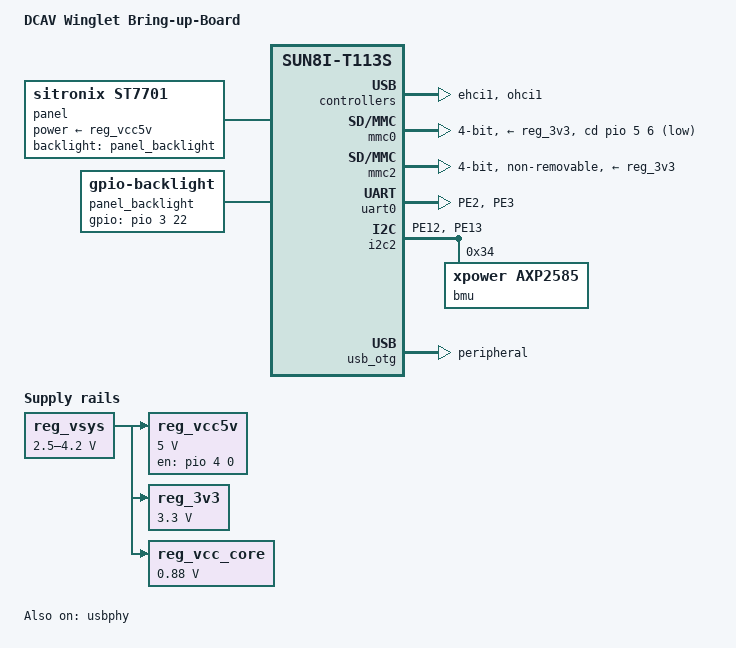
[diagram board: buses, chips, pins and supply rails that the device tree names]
// SPDX-License-Identifier: (GPL-2.0+ OR MIT)
// Copyright (C) 2022 Arm Ltd.
/*
 * Allwinner
 * DCAV Winglet-BUB : Robert Pafford (rjp5th), Adam Batori (HCAdam)
 */

/dts-v1/;

#include <dt-bindings/interrupt-controller/irq.h>
#include <dt-bindings/gpio/gpio.h>
#include <dt-bindings/leds/common.h>

#include "sun8i-t113s.dtsi"

#define LCD_PINDEF(port, pin) ((port << 16) | pin)
#define LCD_COMMAND(cmd) ((1 << 31) | cmd)
#define LCD_DELAY_MS(time) ((1 << 30) | time)
#define BMU_COMMAND(reg, val) ((reg << 8) | val)

/ {
	model = "DCAV Winglet Bring-up-Board";
	compatible = "dcav,winglet-bub", "allwinner,sun8i-t113s";

	aliases {
		serial0 = &uart0;
	};

	chosen {
		stdout-path = "serial0:115200n8";
		recovery-pin = "PG15";
		fdt-filename = "sun8i-t113s-winglet-bub.dtb";
	};


	/* board wide system power rail: on whenever system is on, provided by BMU */
	reg_vsys: regulator-vsys {
		compatible = "regulator-fixed";
		regulator-name = "vcc-vsys";
		regulator-min-microvolt = <2500000>;
		regulator-max-microvolt = <4200000>;
		regulator-always-on;
	};

	/* Regulator to control OTG pin on board to generate 5V on battery power */
	reg_vcc5v: regulator-5v {
		compatible = "regulator-fixed";
		regulator-name = "vcc-5v";
		regulator-min-microvolt = <5000000>;
		regulator-max-microvolt = <5000000>;
		gpio = <&pio 4 0 GPIO_ACTIVE_HIGH>;			// PE0
		startup-delay-us = <2000>;
		enable-active-high;
		vin-supply = <&reg_vsys>;
	};

	/* SY8008 DC/DC regulator on the board */
	reg_3v3: regulator-3v3 {
		compatible = "regulator-fixed";
		regulator-name = "vcc-3v3";
		regulator-min-microvolt = <3300000>;
		regulator-max-microvolt = <3300000>;
		vin-supply = <&reg_vsys>;
		regulator-always-on;
	};

	/* SY8008 DC/DC regulator on the board, also supplying VDD-SYS */
	reg_vcc_core: regulator-core {
		compatible = "regulator-fixed";
		regulator-name = "vcc-core";
		regulator-min-microvolt = <880000>;
		regulator-max-microvolt = <880000>;
		vin-supply = <&reg_vsys>;
		regulator-always-on;
	};

	panel: panel {
		compatible = "sitronix,st7701";
		status = "okay";
		backlight = <&panel_backlight>;
		power-supply = <&reg_vcc5v>;  // This is a hack since uboot doesn't let backlight have power supply

		spi-enable-pin = <LCD_PINDEF(1, 2)>;	// PB2
		cs-pin = <LCD_PINDEF(3, 10)>;		// PD10
		sck-pin = <LCD_PINDEF(3, 11)>;		// PD11
		sda-pin = <LCD_PINDEF(3, 12)>;		// PD12

		init-commands =
			<LCD_COMMAND(0x01)>,
			<LCD_DELAY_MS(10)>,
			<LCD_COMMAND(0xFF) 0x77 0x01 0x00 0x00 0x13>,
			<LCD_COMMAND(0xEF) 0x08>,
			<LCD_COMMAND(0xFF) 0x77 0x01 0x00 0x00 0x10>,
			<LCD_COMMAND(0xC0) 0x3B 0x00>,
			<LCD_COMMAND(0xC1) 0x10 0x0C>,
			<LCD_COMMAND(0xC2) 0x07 0x0A>,
			<LCD_COMMAND(0xC3) 0x80 0xA0 0x14>,
			<LCD_COMMAND(0xC7) 0x00>,
			<LCD_COMMAND(0xCC) 0x10>,
			<LCD_COMMAND(0xB0) 0x05 0x12 0x98 0x0E 0x0F 0x07 0x07 0x09 0x09 0x23 0x05 0x52 0x0F 0x67 0x2C 0x11>,
			<LCD_COMMAND(0xB1) 0x0B 0x11 0x97 0x0C 0x12 0x06 0x06 0x08 0x08 0x22 0x03 0x51 0x11 0x66 0x2B 0x0F>,
			<LCD_COMMAND(0xFF) 0x77 0x01 0x00 0x00 0x11>,
			<LCD_COMMAND(0xB0) 0x5D>,
			<LCD_COMMAND(0xB1) 0x2D>,
			<LCD_COMMAND(0xB2) 0x81>,
			<LCD_COMMAND(0xB3) 0x80>,
			<LCD_COMMAND(0xB5) 0x4E>,
			<LCD_COMMAND(0xB7) 0x85>,
			<LCD_COMMAND(0xB8) 0x20>,
			<LCD_COMMAND(0xC1) 0x78>,
			<LCD_COMMAND(0xC2) 0x78>,
			<LCD_COMMAND(0xD0) 0x88>,
			<LCD_COMMAND(0xE0) 0x00 0x00 0x02>,
			<LCD_COMMAND(0xE1) 0x06 0x30 0x08 0x30 0x05 0x30 0x07 0x30 0x00 0x33 0x33>,
			<LCD_COMMAND(0xE2) 0x11 0x11 0x33 0x33 0xF4 0x00 0x00 0x00 0xF4 0x00 0x00 0x00>,
			<LCD_COMMAND(0xE3) 0x00 0x00 0x11 0x11>,
			<LCD_COMMAND(0xE4) 0x44 0x44>,
			<LCD_COMMAND(0xE5) 0x0D 0xF5 0x30 0xF0 0x0F 0xF7 0x30 0xF0 0x09 0xF1 0x30 0xF0 0x0B 0xF3 0x30 0xF0>,
			<LCD_COMMAND(0xE6) 0x00 0x00 0x11 0x11>,
			<LCD_COMMAND(0xE7) 0x44 0x44>,
			<LCD_COMMAND(0xE8) 0x0C 0xF4 0x30 0xF0 0x0E 0xF6 0x30 0xF0 0x08 0xF0 0x30 0xF0 0x0A 0xF2 0x30 0xF0>,
			<LCD_COMMAND(0xE9) 0x36 0x01>,
			<LCD_COMMAND(0xEB) 0x00 0x01 0xE4 0xE4 0x44 0x88 0x40>,
			<LCD_COMMAND(0xED) 0xFF 0x10 0xAF 0x76 0x54 0x2B 0xCF 0xFF 0xFF 0xFC 0xB2 0x45 0x67 0xFA 0x01 0xFF>,
			<LCD_COMMAND(0xEF) 0x08 0x08 0x08 0x45 0x3F 0x54>,
			<LCD_COMMAND(0xFF) 0x77 0x01 0x00 0x00 0x00>,
			<LCD_COMMAND(0x11)>,
			<LCD_DELAY_MS(120)>,
			<LCD_COMMAND(0x3A) 0x66>,
			<LCD_COMMAND(0x35) 0x00>,
			<LCD_COMMAND(0x29)>;

		display-timings {
			native-mode = <&timing0>;
			timing0: timing480x480p60 {
				clock-frequency = <25000000>;
				hactive = <480>;
				vactive = <480>;
				hback-porch = <152>;
				hfront-porch = <148>;
				vback-porch = <12>;
				vfront-porch = <28>;
				hsync-len = <8>;
				vsync-len = <8>;
				bits-per-pixel = <18>;
				hsync-active = <0>;	// DISPLAY_FLAGS_HSYNC_LOW
				vsync-active = <0>;	// DISPLAY_FLAGS_VSYNC_LOW
				de-active = <1>;	// DISPLAY_FLAGS_DE_HIGH
				pixelclk-active = <1>;	// DISPLAY_FLAGS_PIXDATA_POSEDGE
			};
		};
	};

	panel_backlight: panel-backlight {
		compatible = "gpio-backlight";
		gpios = <&pio 3 22 GPIO_ACTIVE_HIGH>;   // PD22 (PWM7)
		default-on;
	};
};

&cpu0 {
	cpu-supply = <&reg_vcc_core>;
};

&cpu1 {
	cpu-supply = <&reg_vcc_core>;
};

&dcxo {
	clock-frequency = <24000000>;
};

&ehci1 {
	status = "okay";
};

&mmc0 {
	pinctrl-0 = <&mmc0_pins>;
	pinctrl-names = "default";
	vmmc-supply = <&reg_3v3>;
	cd-gpios = <&pio 5 6 GPIO_ACTIVE_LOW>;      // PF6
	disable-wp;
	bus-width = <4>;
	status = "okay";
};

&mmc2 {
	pinctrl-0 = <&mmc2_pins>;
	pinctrl-names = "default";
	vmmc-supply = <&reg_3v3>;
	non-removable;
	bus-width = <4>;
	status = "okay";
};

&ohci1 {
	status = "okay";
};

&pio {
	vcc-pb-supply = <&reg_3v3>;
	vcc-pc-supply = <&reg_3v3>;
	vcc-pd-supply = <&reg_3v3>;
	vcc-pe-supply = <&reg_3v3>;
	vcc-pf-supply = <&reg_3v3>;
	vcc-pg-supply = <&reg_3v3>;

	/omit-if-no-ref/
	uart0_pb_pins: uart0-pb-pins {
		pins = "PE2", "PE3";
		function = "uart0";
	};

	/omit-if-no-ref/
	i2c2_pins: i2c2_pins@0 {
		pins = "PE12", "PE13";
		function = "i2c2-peh";
		bias-pull-up;
	};
};

&uart0 {
	pinctrl-names = "default";
	pinctrl-0 = <&uart0_pb_pins>;
	status = "okay";
};

&i2c2 {
	pinctrl-names = "default";
	pinctrl-0 = <&i2c2_pins>;
	status = "okay";

	bmu: axp2585-bmu {
		compatible = "xpower,axp2585";
		reg = <0x34>;

		min-poweron-mv = <3150>;
		init-commands = <
			BMU_COMMAND(0x12, 0xA8)  /* Enable Boost OTG regulator, Lowers VSYS_MIN to 3.0V */
			BMU_COMMAND(0x13, 0x95)  /* Increase USB-specific boost current limit to 900 mA */
			BMU_COMMAND(0x15, 0xE5)  /* Power On Key Timings */
			BMU_COMMAND(0x8C, 0x59)  /* Set max charge voltage to 4.192V, precharge to 2.8V, -200 mV before recharge */
			BMU_COMMAND(0xE0, 0x88)  /* Set battery capacity 3350 mAh */
			BMU_COMMAND(0xE1, 0xFC)  /* Set battery capacity 3350 mAh Cont. */
			BMU_COMMAND(0x8E, 0xB8)  /* Enable Battery Presence Detect */
			BMU_COMMAND(0x33, 0x13)  /* USB C Port Mode Control (DRP) */
			BMU_COMMAND(0x22, 0x02)  /* CC Clock Enable */
		>;

	};
};

&usb_otg {
	dr_mode = "peripheral";
	status = "okay";
};

&usbphy {
	usb1_vbus-supply = <&reg_vcc5v>;
	status = "okay";
};
